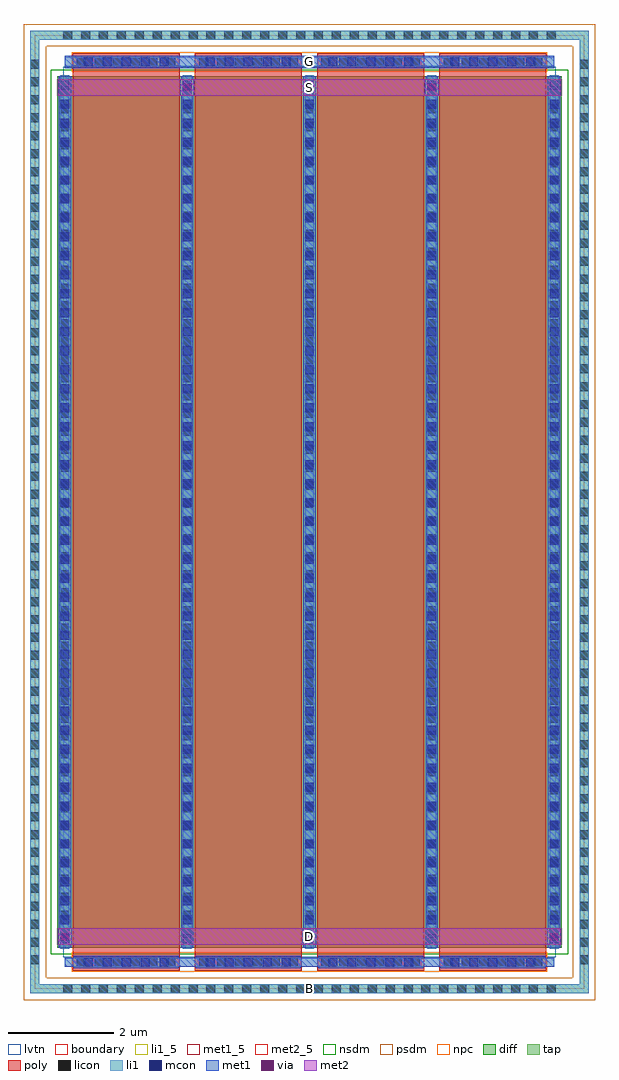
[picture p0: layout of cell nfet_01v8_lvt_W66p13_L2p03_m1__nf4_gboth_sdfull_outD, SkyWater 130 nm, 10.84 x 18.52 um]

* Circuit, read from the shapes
.subckt nfet_01v8_lvt_W66p13_L2p03_m1__nf4_gboth_sdfull_outD B D G S
XM1 S G D B sky130_fd_pr__nfet_01v8_lvt w=16.53 l=2.03 m=4
.ends

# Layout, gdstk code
import gdstk
lib = gdstk.Library(unit=1e-6, precision=1e-09)
def R(c, l, rs):  # rectangles x0, y0, x1, y1
    for r in rs: c.add(gdstk.rectangle(r[:2], r[2:], *l))
def A(c, l, x, y, w, h, nx, ny, dx, dy):  # array of equal rectangles
    R(c, l, [(x+i*dx, y+j*dy, x+i*dx+w, y+j*dy+h) for i in range(nx) for j in range(ny)])
diff = (65, 20)
tap = (65, 44)
poly = (66, 20)
licon = (66, 44)
li1_5 = (67, 5)
li1 = (67, 20)
mcon = (67, 44)
met1_5 = (68, 5)
met1 = (68, 20)
via = (68, 44)
met2_5 = (69, 5)
met2 = (69, 20)
nsdm = (93, 44)
psdm = (94, 20)
npc = (95, 20)
lvtn = (125, 44)
boundary = (235, 4)

sky130_fd_pr__nfet_01v8_ = lib.new_cell('sky130_fd_pr__nfet_01v8_lvt_X57VS8')
R(sky130_fd_pr__nfet_01v8_, diff, [(-4.785,-8.265,4.785,8.265)])
R(sky130_fd_pr__nfet_01v8_, tap, [(-5.295,-9.135,5.295,-8.965), (-5.295,-8.965,-5.125,8.965), (5.125,-8.965,5.295,8.965), (-5.295,8.965,5.295,9.135)])
A(sky130_fd_pr__nfet_01v8_, poly, -4.495, -8.705, 2.03, 17.41, 4, 1, 2.32, 0)
A(sky130_fd_pr__nfet_01v8_, licon, -4.675, -9.135, 0.17, 0.17, 28, 2, 0.34, 18.1)
A(sky130_fd_pr__nfet_01v8_, licon, -4.415, -8.625, 0.17, 0.17, 6, 2, 0.34, 17.08)
A(sky130_fd_pr__nfet_01v8_, licon, -2.095, -8.625, 0.17, 0.17, 6, 2, 0.34, 17.08)
A(sky130_fd_pr__nfet_01v8_, licon, 0.225, -8.625, 0.17, 0.17, 6, 2, 0.34, 17.08)
A(sky130_fd_pr__nfet_01v8_, licon, 2.545, -8.625, 0.17, 0.17, 6, 2, 0.34, 17.08)
A(sky130_fd_pr__nfet_01v8_, licon, -5.295, -8.585, 0.17, 0.17, 1, 51, 0, 0.34)
A(sky130_fd_pr__nfet_01v8_, licon, 5.125, -8.585, 0.17, 0.17, 1, 51, 0, 0.34)
A(sky130_fd_pr__nfet_01v8_, licon, -4.725, -8.075, 0.17, 0.17, 5, 48, 2.32, 0.34)
A(sky130_fd_pr__nfet_01v8_, li1, -4.725, -8.285, 0.17, 16.57, 5, 1, 2.32, 0)
R(sky130_fd_pr__nfet_01v8_, li1, [(-5.295,-9.135,5.295,-8.965), (-5.295,-8.965,-5.125,8.965), (5.125,-8.965,5.295,8.965), (-4.64,-8.625,4.64,-8.455), (-4.64,8.455,4.64,8.625), (-5.295,8.965,5.295,9.135)])
A(sky130_fd_pr__nfet_01v8_, mcon, -4.285, -8.625, 0.17, 0.17, 5, 2, 0.36, 17.08)
A(sky130_fd_pr__nfet_01v8_, mcon, -1.965, -8.625, 0.17, 0.17, 5, 2, 0.36, 17.08)
A(sky130_fd_pr__nfet_01v8_, mcon, 0.355, -8.625, 0.17, 0.17, 5, 2, 0.36, 17.08)
A(sky130_fd_pr__nfet_01v8_, mcon, 2.675, -8.625, 0.17, 0.17, 5, 2, 0.36, 17.08)
A(sky130_fd_pr__nfet_01v8_, mcon, -4.725, -8.185, 0.17, 0.17, 5, 46, 2.32, 0.36)
A(sky130_fd_pr__nfet_01v8_, met1, -4.475, -8.655, 1.99, 0.03, 4, 2, 2.32, 0.2)
A(sky130_fd_pr__nfet_01v8_, met1, -4.755, -8.265, 0.23, 16.53, 5, 1, 2.32, 0)
A(sky130_fd_pr__nfet_01v8_, met1, -4.475, 8.425, 1.99, 0.03, 4, 2, 2.32, 0.2)
R(sky130_fd_pr__nfet_01v8_, met1, [(-4.64,-8.625,4.64,-8.455), (-4.64,8.455,4.64,8.625)])
R(sky130_fd_pr__nfet_01v8_, nsdm, [(-4.91,-8.39,4.91,8.39)])
R(sky130_fd_pr__nfet_01v8_, psdm, [(-5.42,-9.26,5.42,-8.84), (-5.42,-8.84,-5,8.84), (5,-8.84,5.42,8.84), (-5.42,8.84,5.42,9.26)])
R(sky130_fd_pr__nfet_01v8_, npc, [(-4.515,-8.725,4.515,-8.355), (-4.515,8.355,4.515,8.725)])
R(sky130_fd_pr__nfet_01v8_, lvtn, [(-4.675,-8.445,4.675,8.445)])
R(sky130_fd_pr__nfet_01v8_, boundary, [(-5.21,-9.05,5.21,9.05)])
sky130_fd_pr__nfet_01v8_.add(gdstk.Label('B', (0,-9.05), layer=67, texttype=5))
sky130_fd_pr__nfet_01v8_.add(gdstk.Label('D0', (-4.64,0), layer=67, texttype=5))
sky130_fd_pr__nfet_01v8_.add(gdstk.Label('G', (3.48,8.54), layer=67, texttype=5))
sky130_fd_pr__nfet_01v8_.add(gdstk.Label('G', (1.16,8.54), layer=67, texttype=5))
sky130_fd_pr__nfet_01v8_.add(gdstk.Label('G', (-1.16,8.54), layer=67, texttype=5))
sky130_fd_pr__nfet_01v8_.add(gdstk.Label('G', (-3.48,8.54), layer=67, texttype=5))
sky130_fd_pr__nfet_01v8_.add(gdstk.Label('S1', (-2.32,0), layer=67, texttype=5))
sky130_fd_pr__nfet_01v8_.add(gdstk.Label('D2', (0,0), layer=67, texttype=5))
sky130_fd_pr__nfet_01v8_.add(gdstk.Label('S3', (2.32,0), layer=67, texttype=5))

nfet_01v8_lvt_w66p13_l2p = lib.new_cell('nfet_01v8_lvt_W66p13_L2p03_m1__nf4_gboth_sdfull_outD')
R(nfet_01v8_lvt_w66p13_l2p, li1_5, [(5.125,-0.085,5.295,0.085)])
R(nfet_01v8_lvt_w66p13_l2p, li1, [(5.125,-0.085,5.295,0.085)])
R(nfet_01v8_lvt_w66p13_l2p, met1_5, [(0.57,17.475,9.85,17.705)])
A(nfet_01v8_lvt_w66p13_l2p, met1, 0.44, 0.835, 0.26, 0.32, 3, 1, 4.64, 0)
R(nfet_01v8_lvt_w66p13_l2p, met1, [(2.76,16.945,3.02,17.265), (7.4,16.945,7.66,17.265), (0.57,17.475,9.85,17.705)])
A(nfet_01v8_lvt_w66p13_l2p, via, 0.495, 0.92, 0.15, 0.15, 3, 1, 4.64, 0)
R(nfet_01v8_lvt_w66p13_l2p, via, [(2.815,17.03,2.965,17.18), (7.455,17.03,7.605,17.18)])
R(nfet_01v8_lvt_w66p13_l2p, met2_5, [(0.435,0.835,9.985,1.155), (0.435,16.945,9.985,17.265)])
R(nfet_01v8_lvt_w66p13_l2p, met2, [(0.435,0.835,9.985,1.155), (0.435,16.945,9.985,17.265)])
nfet_01v8_lvt_w66p13_l2p.add(gdstk.Reference(sky130_fd_pr__nfet_01v8_, (5.21,9.05)))
nfet_01v8_lvt_w66p13_l2p.add(gdstk.Label('S', (5.21,17.105), layer=69, texttype=5))
nfet_01v8_lvt_w66p13_l2p.add(gdstk.Label('D', (5.21,0.995), layer=69, texttype=5))
nfet_01v8_lvt_w66p13_l2p.add(gdstk.Label('G', (5.21,17.59), layer=68, texttype=5))
nfet_01v8_lvt_w66p13_l2p.add(gdstk.Label('B', (5.21,0), layer=67, texttype=5))

lib.write_gds('nfet_01v8_lvt_W66p13_L2p03_m1__nf4_gboth_sdfull_outD.gds')
